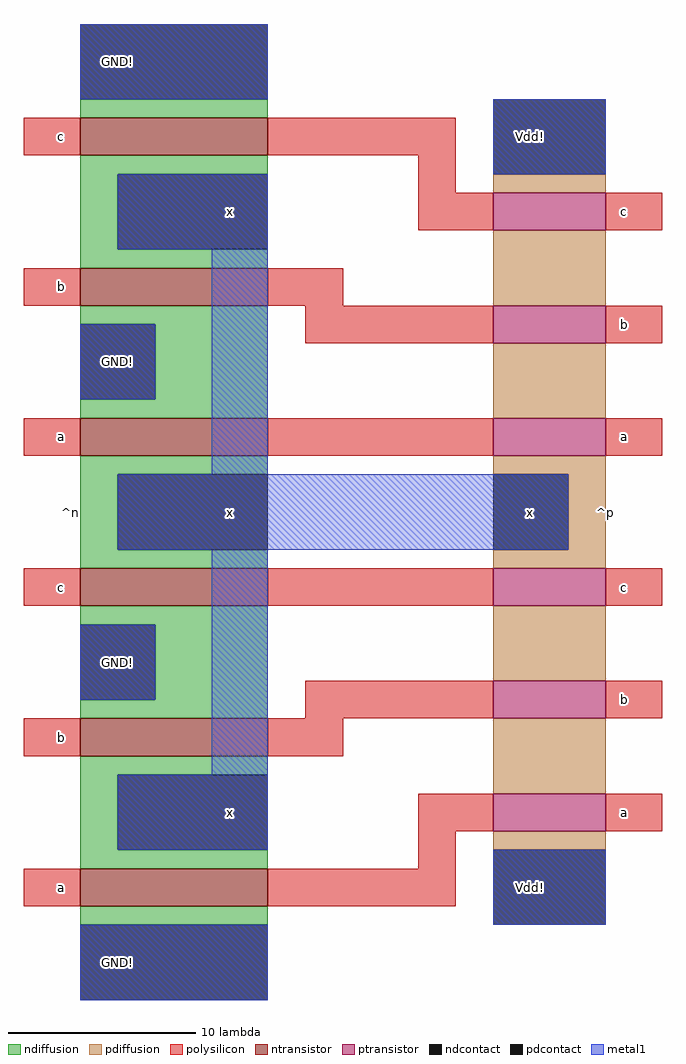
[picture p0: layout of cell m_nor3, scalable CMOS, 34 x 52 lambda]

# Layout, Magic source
magic
tech scmos
<< ndiffusion >>
rect 25 -3 35 -2
rect 25 -6 35 -5
rect 25 -10 27 -6
rect 25 -11 35 -10
rect 25 -14 35 -13
rect 29 -18 35 -14
rect 25 -19 35 -18
rect 25 -22 35 -21
rect 25 -26 27 -22
rect 25 -27 35 -26
rect 25 -30 35 -29
rect 29 -34 35 -30
rect 25 -35 35 -34
rect 25 -38 35 -37
rect 25 -42 27 -38
rect 25 -43 35 -42
rect 25 -46 35 -45
<< pdiffusion >>
rect 47 -7 53 -6
rect 47 -13 53 -9
rect 47 -19 53 -15
rect 47 -22 53 -21
rect 51 -26 53 -22
rect 47 -27 53 -26
rect 47 -33 53 -29
rect 47 -39 53 -35
rect 47 -42 53 -41
<< ntransistor >>
rect 25 -5 35 -3
rect 25 -13 35 -11
rect 25 -21 35 -19
rect 25 -29 35 -27
rect 25 -37 35 -35
rect 25 -45 35 -43
<< ptransistor >>
rect 47 -9 53 -7
rect 47 -15 53 -13
rect 47 -21 53 -19
rect 47 -29 53 -27
rect 47 -35 53 -33
rect 47 -41 53 -39
<< polysilicon >>
rect 22 -5 25 -3
rect 35 -5 45 -3
rect 43 -7 45 -5
rect 43 -9 47 -7
rect 53 -9 56 -7
rect 22 -13 25 -11
rect 35 -13 39 -11
rect 37 -15 47 -13
rect 53 -15 56 -13
rect 22 -21 25 -19
rect 35 -21 47 -19
rect 53 -21 56 -19
rect 22 -29 25 -27
rect 35 -29 47 -27
rect 53 -29 56 -27
rect 37 -35 47 -33
rect 53 -35 56 -33
rect 22 -37 25 -35
rect 35 -37 39 -35
rect 43 -41 47 -39
rect 53 -41 56 -39
rect 43 -43 45 -41
rect 22 -45 25 -43
rect 35 -45 45 -43
<< ndcontact >>
rect 25 -2 35 2
rect 27 -10 35 -6
rect 25 -18 29 -14
rect 27 -26 35 -22
rect 25 -34 29 -30
rect 27 -42 35 -38
rect 25 -50 35 -46
<< pdcontact >>
rect 47 -6 53 -2
rect 47 -26 51 -22
rect 47 -46 53 -42
<< metal1 >>
rect 25 -2 35 2
rect 47 -6 53 -2
rect 27 -10 35 -6
rect 25 -18 29 -14
rect 32 -22 35 -10
rect 27 -26 51 -22
rect 25 -34 29 -30
rect 32 -38 35 -26
rect 27 -42 35 -38
rect 47 -46 53 -42
rect 25 -50 35 -46
<< labels >>
rlabel space 21 -51 28 3 7 ^n
rlabel space 50 -47 56 -1 3 ^p
rlabel polysilicon 54 -28 54 -28 7 c
rlabel polysilicon 54 -34 54 -34 7 b
rlabel polysilicon 54 -40 54 -40 7 a
rlabel polysilicon 54 -20 54 -20 7 a
rlabel polysilicon 54 -14 54 -14 7 b
rlabel polysilicon 24 -44 24 -44 7 a
rlabel polysilicon 24 -20 24 -20 7 a
rlabel polysilicon 24 -36 24 -36 7 b
rlabel polysilicon 24 -12 24 -12 7 b
rlabel polysilicon 24 -28 24 -28 7 c
rlabel polysilicon 24 -4 24 -4 7 c
rlabel polysilicon 54 -8 54 -8 7 c
rlabel ndcontact 33 -8 33 -8 1 x
rlabel ndcontact 33 -24 33 -24 1 x
rlabel ndcontact 33 -40 33 -40 1 x
rlabel pdcontact 49 -24 49 -24 1 x
rlabel pdcontact 49 -44 49 -44 1 Vdd!
rlabel pdcontact 49 -4 49 -4 1 Vdd!
rlabel ndcontact 27 -16 27 -16 1 GND!
rlabel ndcontact 27 0 27 0 5 GND!
rlabel ndcontact 27 -32 27 -32 1 GND!
rlabel ndcontact 27 -48 27 -48 1 GND!
<< end >>
